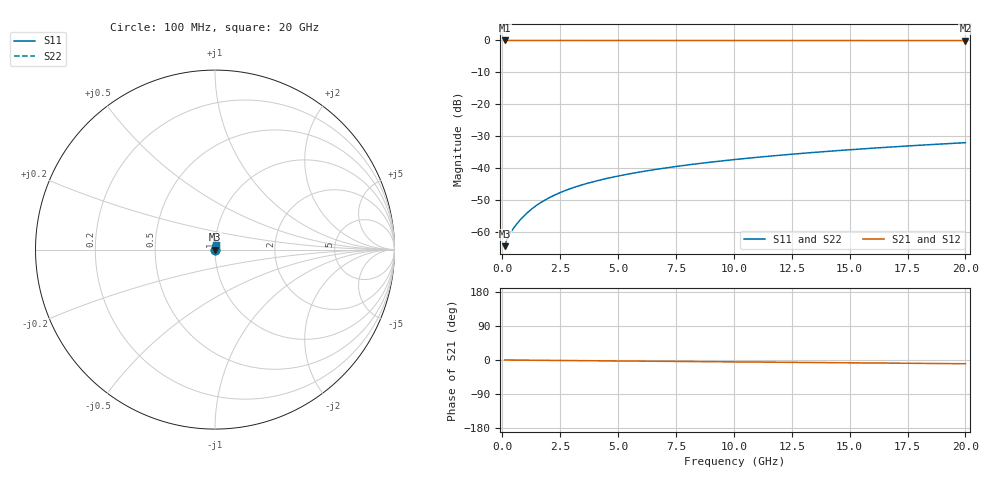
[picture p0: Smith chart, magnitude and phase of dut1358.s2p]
! Touchstone file exported from HFSS 2026.1.0
!  File:  C:/ffzhzh/LocalFiles/Ansys_Project_Files/temp_train_BSMRDL_1358_1783179144_18472.aedt
!  Generated:  11:33:34 PM Jul  4, 2026
!  Design:  BSMRDL
!  Project:  temp_train_BSMRDL_1358_1783179144_18472
! Variables:
!  h_bsmrdl = 5.52um
!  h_ox = 20um
!  h_rdl = 5um
!  h_sub = 80um
!  h_tmrdl = 5um
!  h_tsv = 80um
!  h_via = 3um
!  l_bsmrdl = 156.31um
!  l_sub = 556.31um
!  l_tmrdl = 200um
!  m_sub = 200um
!  pitch = 36.3um
!  r_tsv = 6um
!  s_tmrdl = 10um
!  w_bsmrdl = 28.12um
!  w_sub = 500um
!  w_tmrdl = 12um
!  x_tsv_center1 = 206um
!  x_tsv_center2 = 390.43um
!  x_tsv_center3 = 602.43um
!  x_tsv_center4 = 786.86um
!  x_tsv_center5 = 998.86um
!  x_tsv_center6 = 1183.29um
# GHz S MA R 50.000000
! Terminal data exported
! Port[1] = BSM_RDL1_1_T1
! Port[2] = BSM_RDL1_1_T2
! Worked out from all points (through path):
!   200 points, 100 MHz to 20 GHz, reference 50 ohm
!   highest |S21| = 0.00 dB at 100 MHz (marker M1); lowest = 0.0 dB at 20 GHz (marker M2)
!   group delay of S21, straight-line fit = 1.36 ps
!   lowest |S11| = -64.4 dB at 100 MHz (marker M3), VSWR 1.00, Z = 50.1 + j0.0267 ohm
!   |S11| at or under -10 dB: start of sweep to end of sweep
!   |S22| runs from -64.4 to -32.0 dB; largest |S21 - S12| = 1.2e-14
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0.1  0.000605 26.2  0.9995 -0.1  0.9995 -0.1  0.000605 26.2
! Gamma 0 0 0 0
! Port Impedance 50 0 50 0
0.2  0.0007719 36.5  0.9994 -0.1  0.9994 -0.1  0.0007719 36.5
0.3  0.0009128 42.4  0.9993 -0.2  0.9993 -0.2  0.0009128 42.4
0.5  0.001175 51.5  0.9993 -0.3  0.9993 -0.3  0.001175 51.5
0.7  0.001452 57.9  0.9992 -0.4  0.9992 -0.4  0.001452 57.9
0.9  0.001745 62.3  0.9992 -0.5  0.9992 -0.5  0.001745 62.3
1.1  0.002047 65.4  0.9992 -0.6  0.9992 -0.6  0.002047 65.4
1.3  0.002353 67.5  0.9991 -0.7  0.9991 -0.7  0.002353 67.5
1.7  0.002967 70.1  0.999 -0.9  0.999 -0.9  0.002967 70.1
2.2  0.003723 71.8  0.9989 -1.1  0.9989 -1.1  0.003723 71.8
2.8  0.004602 72.6  0.9987 -1.4  0.9987 -1.4  0.004602 72.6
3.5  0.005585 73.1  0.9985 -1.8  0.9985 -1.8  0.005585 73.1
4.2  0.006528 73.2  0.9983 -2.1  0.9983 -2.1  0.006528 73.2
4.9  0.007439 73.3  0.9981 -2.5  0.9981 -2.5  0.007439 73.3
5.8  0.008579 73.4  0.9979 -2.9  0.9979 -2.9  0.008579 73.4
6.8  0.009817 73.5  0.9977 -3.4  0.9977 -3.4  0.009817 73.5
8.3  0.01164 73.5  0.9974 -4.1  0.9974 -4.1  0.01164 73.5
10.1  0.01379 73.3  0.9971 -5.0  0.9971 -5.0  0.01379 73.3
11.7  0.01567 73.1  0.9969 -5.8  0.9969 -5.8  0.01567 73.1
13.4  0.01765 72.8  0.9966 -6.6  0.9966 -6.6  0.01765 72.8
16.7  0.02144 72.0  0.9961 -8.2  0.9961 -8.2  0.02144 72.0
20  0.02516 71.0  0.9957 -9.8  0.9957 -9.8  0.02516 71.0
